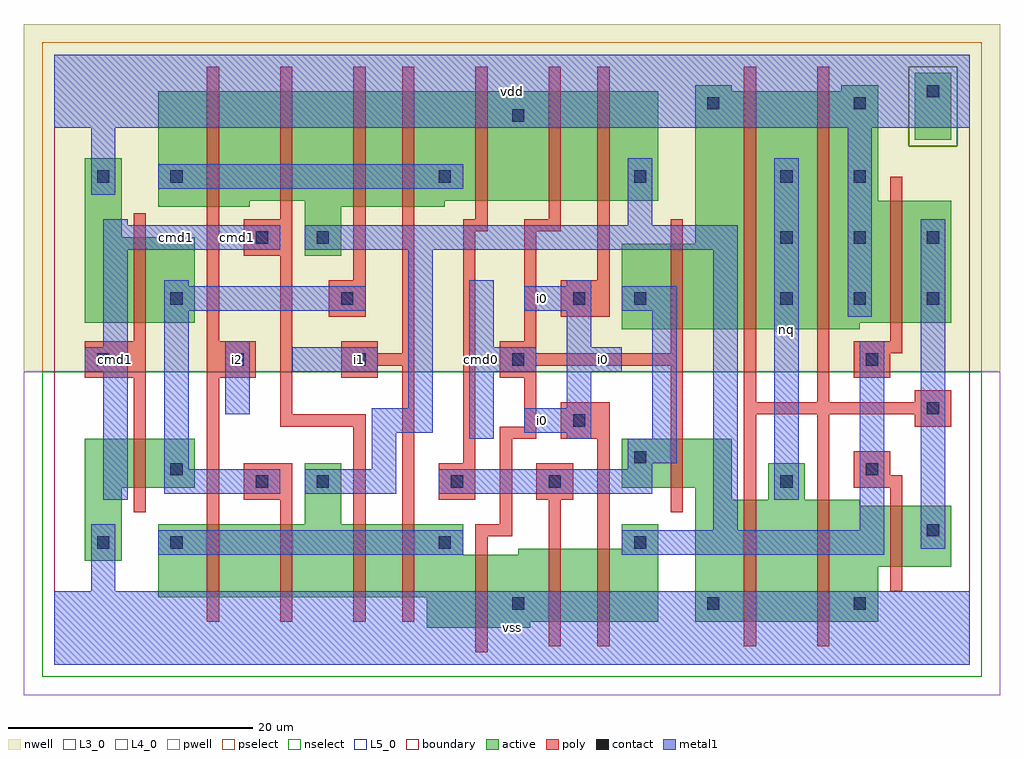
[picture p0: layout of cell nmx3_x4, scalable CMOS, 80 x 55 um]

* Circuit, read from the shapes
.subckt nmx3_x4 cmd0 cmd1 i0 i1 i2 nq vdd vss
M1 n1 cmd1 vss VSUBS nfet w=4u l=1u
M2 n2 i2 n3 VSUBS nfet w=6u l=1u
M3 n4 n1 n2 VSUBS nfet w=6u l=1u
M4 n5 cmd1 n4 VSUBS nfet w=6u l=1u
M5 n3 i1 n5 VSUBS nfet w=6u l=1u
M6 vss cmd0 n3 VSUBS nfet w=6u l=1u
M7 n6 n7 vss VSUBS nfet w=6u l=1u
M8 n4 i0 n6 VSUBS nfet w=6u l=1u
M9 vss cmd0 n7 VSUBS nfet w=4u l=1u
M10 nq n8 vss VSUBS nfet w=10u l=1u m=2
M11 n8 n4 vss VSUBS nfet w=5u l=1u
M12 n1 cmd1 vdd vdd pfet w=7u l=1u
M13 n9 i2 n10 vdd pfet w=9.5u l=1u
M14 n4 cmd1 n9 vdd pfet w=9u l=1u
M15 n11 n1 n4 vdd pfet w=9.5u l=1u
M16 n10 i1 n11 vdd pfet w=9.5u l=1u
M17 vdd n7 n10 vdd pfet w=9u l=1u
M18 n12 cmd0 vdd vdd pfet w=9u l=1u
M19 n4 i0 n12 vdd pfet w=9u l=1u
M20 vdd cmd0 n7 vdd pfet w=7u l=1u
M21 nq n8 vdd vdd pfet w=19.5u l=1u m=2
M22 n8 n4 vdd vdd pfet w=10u l=1u
.ends

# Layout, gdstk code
import gdstk
lib = gdstk.Library(unit=1e-6, precision=1e-09)
def R(c, l, rs):  # rectangles x0, y0, x1, y1
    for r in rs: c.add(gdstk.rectangle(r[:2], r[2:], *l))
def A(c, l, x, y, w, h, nx, ny, dx, dy):  # array of equal rectangles
    R(c, l, [(x+i*dx, y+j*dy, x+i*dx+w, y+j*dy+h) for i in range(nx) for j in range(ny)])
L3_0 = (3, 0)
L4_0 = (4, 0)
L5_0 = (5, 0)
contact = (25, 0)
pwell = (41, 0)
nwell = (42, 0)
active = (43, 0)
pselect = (44, 0)
nselect = (45, 0)
poly = (46, 0)
metal1 = (49, 0)
boundary = (63, 0)

nmx3_x4 = lib.new_cell('nmx3_x4')
R(nmx3_x4, L3_0, [(30.5,3,39,3.5), (30.5,3.5,49.5,5.5), (52.5,3.5,67.5,8), (8.5,5.5,49.5,9), (52.5,8,73.5,13), (2.5,8.5,5.5,14.5), (8.5,9,33.5,11.5), (38,9,49.5,9.5), (46.5,9.5,49.5,11.5), (20.5,11.5,23.5,16.5), (52.5,13,66,13.5), (52.5,13.5,55.5,14.5), (58.5,13.5,61.5,16.5), (2.5,14.5,11.5,18.5), (46.5,14.5,55.5,18.5)])
R(nmx3_x4, L4_0, [(46.5,27.5,66,28), (2.5,28,11.5,35), (46.5,28,73.5,34.5), (20.5,33.5,23.5,37.5), (52.5,34.5,73.5,38), (2.5,35,5.5,41.5), (8.5,37.5,16,38), (20.5,37.5,32,38), (8.5,38,49.5,47), (52.5,38,67.5,47), (52.5,47,55.5,47.5), (64.5,47,67.5,47.5)])
R(nmx3_x4, L5_0, [(70.5,43,73.5,48.5)])
A(nmx3_x4, contact, 37.5, 4.5, 1, 1, 1, 3, 0, 20)
A(nmx3_x4, contact, 3.5, 9.5, 1, 1, 1, 3, 0, 15)
A(nmx3_x4, contact, 59.5, 29.5, 1, 1, 3, 2, 6, 5)
R(nmx3_x4, contact, [(53.5,4.5,54.5,5.5), (65.5,4.5,66.5,5.5), (9.5,9.5,10.5,10.5), (31.5,9.5,32.5,10.5), (47.5,9.5,48.5,10.5), (71.5,10.5,72.5,11.5), (16.5,14.5,17.5,15.5), (21.5,14.5,22.5,15.5), (32.5,14.5,33.5,15.5), (40.5,14.5,41.5,15.5), (59.5,14.5,60.5,15.5), (9.5,15.5,10.5,16.5), (66.5,15.5,67.5,16.5), (47.5,16.5,48.5,17.5), (42.5,19.5,43.5,20.5), (71.5,20.5,72.5,21.5), (14.5,24.5,15.5,25.5), (24.5,24.5,25.5,25.5), (66.5,24.5,67.5,25.5), (9.5,29.5,10.5,30.5), (23.5,29.5,24.5,30.5), (42.5,29.5,43.5,30.5), (47.5,29.5,48.5,30.5), (16.5,34.5,17.5,35.5), (21.5,34.5,22.5,35.5), (9.5,39.5,10.5,40.5), (31.5,39.5,32.5,40.5), (47.5,39.5,48.5,40.5), (59.5,39.5,60.5,40.5), (65.5,39.5,66.5,40.5), (53.5,45.5,54.5,46.5), (65.5,45.5,66.5,46.5), (71.5,46.5,72.5,47.5)])
R(nmx3_x4, pwell, [(-2.5,-2.5,77.5,24)])
R(nmx3_x4, nwell, [(-2.5,24,77.5,52.5)])
R(nmx3_x4, active, [(30.5,3,39,3.5), (30.5,3.5,49.5,5.5), (52.5,3.5,67.5,8), (8.5,5.5,49.5,9), (52.5,8,73.5,13), (2.5,8.5,5.5,14.5), (8.5,9,33.5,11.5), (38,9,49.5,9.5), (46.5,9.5,49.5,11.5), (20.5,11.5,23.5,16.5), (52.5,13,66,13.5), (52.5,13.5,55.5,14.5), (58.5,13.5,61.5,16.5), (2.5,14.5,11.5,18.5), (46.5,14.5,55.5,18.5), (46.5,27.5,66,28), (2.5,28,11.5,35), (46.5,28,73.5,34.5), (20.5,33.5,23.5,37.5), (52.5,34.5,73.5,38), (2.5,35,5.5,41.5), (8.5,37.5,16,38), (20.5,37.5,32,38), (8.5,38,49.5,47), (52.5,38,67.5,47), (70.5,43,73.5,48.5), (52.5,47,55.5,47.5), (64.5,47,67.5,47.5)])
R(nmx3_x4, pselect, [(-1,24,76,42.5), (-1,42.5,70,49), (74,42.5,76,49), (-1,49,76,51)])
R(nmx3_x4, nselect, [(-1,-1,76,24), (70,42.5,74,49)])
R(nmx3_x4, poly, [(34.5,1,35.5,10.5), (40.5,1.5,41.5,13.5), (44.5,1.5,45.5,18.5), (56.5,1.5,57.5,20.5), (62.5,1.5,63.5,20.5), (12.5,3.5,13.5,23.5), (18.5,3.5,19.5,13.5), (24.5,3.5,25.5,19.5), (28.5,3.5,29.5,24.5), (68.5,6,69.5,14.5), (34.5,10.5,37.5,11.5), (36.5,11.5,37.5,18.5), (6.5,12.5,7.5,23.5), (50.5,12.5,51.5,24.5), (15.5,13.5,19.5,16.5), (31.5,13.5,34.5,16.5), (39.5,13.5,42.5,16.5), (65.5,14.5,69.5,15.5), (65.5,15.5,68.5,17.5), (33.5,16.5,34.5,35.5), (36.5,18.5,39.5,19.5), (41.5,18.5,45.5,21.5), (18.5,19.5,25.5,20.5), (38.5,19.5,39.5,23.5), (70.5,19.5,73.5,20.5), (18.5,20.5,19.5,33.5), (56.5,20.5,73.5,21.5), (56.5,21.5,57.5,49), (62.5,21.5,63.5,49), (70.5,21.5,73.5,22.5), (2.5,23.5,7.5,26.5), (12.5,23.5,16.5,26.5), (23.5,23.5,26.5,24.5), (36.5,23.5,39.5,24.5), (65.5,23.5,68.5,25.5), (23.5,24.5,29.5,25.5), (36.5,24.5,51.5,25.5), (23.5,25.5,26.5,26.5), (28.5,25.5,29.5,49), (36.5,25.5,39.5,26.5), (50.5,25.5,51.5,36.5), (65.5,25.5,69.5,26.5), (6.5,26.5,7.5,37), (12.5,26.5,13.5,49), (38.5,26.5,39.5,35.5), (68.5,26.5,69.5,40), (22.5,28.5,25.5,31.5), (41.5,28.5,45.5,31.5), (24.5,31.5,25.5,49), (44.5,31.5,45.5,49), (15.5,33.5,19.5,36.5), (33.5,35.5,35.5,36.5), (38.5,35.5,41.5,36.5), (18.5,36.5,19.5,49), (34.5,36.5,35.5,49), (40.5,36.5,41.5,49)])
R(nmx3_x4, metal1, [(0,0,75,6), (0,0,75,6), (3,6,5,11.5), (3,6,5,11.5), (8.5,9,33.5,11), (8.5,9,33.5,11), (46.5,9,68,11), (46.5,9,68,11), (71,9.5,73,36.5), (71,9.5,73,36.5), (54,11,56,34), (54,11,56,34), (66,11,68,26.5), (66,11,68,26.5), (4,13.5,6,24), (4,13.5,6,24), (59,13.5,61,41.5), (59,13.5,61,41.5), (9,14,18.5,16), (9,14,18.5,16), (20.5,14,28,16), (20.5,14,28,16), (31.5,14,49,16), (31.5,14,49,16), (9,16,11,29), (9,16,11,29), (26,16,28,19), (26,16,28,19), (47,16,49,16.5), (47,16,49,16.5), (47,16.5,51,18.5), (47,16.5,51,18.5), (34,18.5,36,24), (34,18.5,36,24), (42,18.5,44,19), (42,18.5,44,19), (49,18.5,51,29), (49,18.5,51,29), (26,19,31,21), (26,19,31,21), (38.5,19,44,21), (38.5,19,44,21), (14,20.5,16,26.5), (14,20.5,16,26.5), (29,21,31,34), (29,21,31,34), (42,21,44,24), (42,21,44,24), (2.5,24,6,26), (2.5,24,6,26), (19.5,24,26.5,26), (19.5,24,26.5,26), (34,24,39.5,26), (34,24,39.5,26), (42,24,46.5,26), (42,24,46.5,26), (4,26,6,34), (4,26,6,34), (34,26,36,31.5), (34,26,36,31.5), (42,26,44,29), (42,26,44,29), (65,28.5,67,44), (65,28.5,67,44), (9,29,25.5,31), (9,29,25.5,31), (38.5,29,44,31), (38.5,29,44,31), (46.5,29,51,31), (46.5,29,51,31), (9,31,11,31.5), (9,31,11,31.5), (42,31,44,31.5), (42,31,44,31.5), (4,34,18.5,36), (4,34,18.5,36), (20.5,34,56,36), (20.5,34,56,36), (4,36,6,36.5), (4,36,6,36.5), (47,36,49,41.5), (47,36,49,41.5), (3,38.5,5,44), (3,38.5,5,44), (8.5,39,33.5,41), (8.5,39,33.5,41), (0,44,75,50), (0,44,75,50)])
R(nmx3_x4, boundary, [(0,0,75,50)])
nmx3_x4.add(gdstk.Label('cmd1', (5,25), layer=49, texttype=0))
nmx3_x4.add(gdstk.Label('i2', (15,25), layer=49, texttype=0))
nmx3_x4.add(gdstk.Label('cmd1', (15,35), layer=49, texttype=0))
nmx3_x4.add(gdstk.Label('cmd1', (10,35), layer=49, texttype=0))
nmx3_x4.add(gdstk.Label('i1', (25,25), layer=49, texttype=0))
nmx3_x4.add(gdstk.Label('cmd0', (35,25), layer=49, texttype=0))
nmx3_x4.add(gdstk.Label('vss', (37.5,3), layer=49, texttype=0))
nmx3_x4.add(gdstk.Label('i0', (40,20), layer=49, texttype=0))
nmx3_x4.add(gdstk.Label('i0', (45,25), layer=49, texttype=0))
nmx3_x4.add(gdstk.Label('i0', (40,30), layer=49, texttype=0))
nmx3_x4.add(gdstk.Label('vdd', (37.5,47), layer=49, texttype=0))
nmx3_x4.add(gdstk.Label('nq', (60,27.5), layer=49, texttype=0))

lib.write_gds('nmx3_x4.gds')
